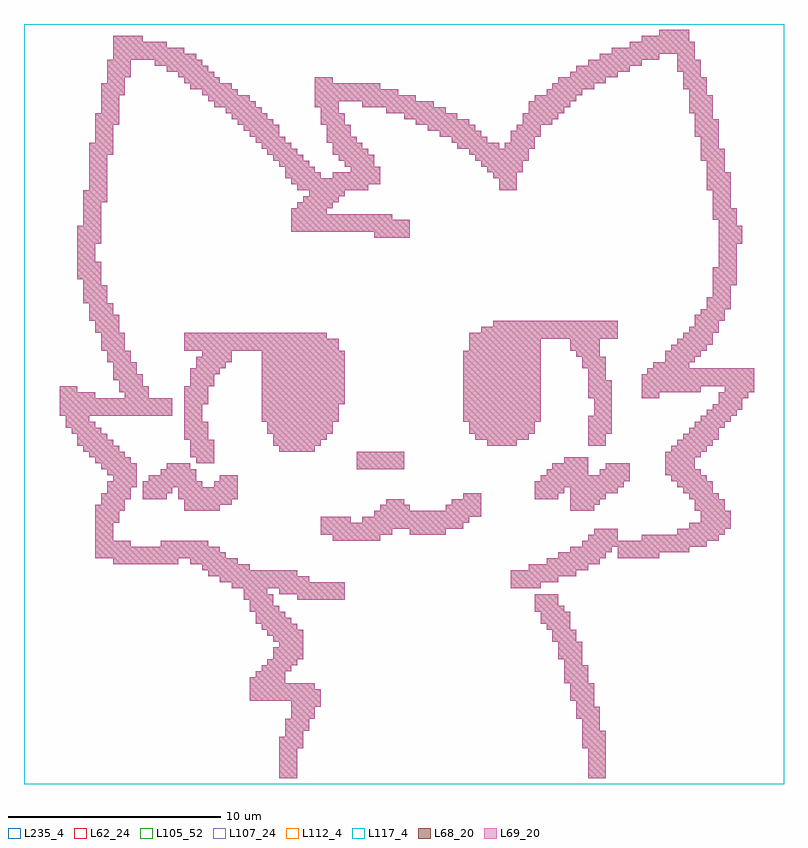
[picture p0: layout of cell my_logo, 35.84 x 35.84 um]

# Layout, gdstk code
import gdstk
lib = gdstk.Library(unit=1e-6, precision=1e-09)
def R(c, l, rs):  # rectangles x0, y0, x1, y1
    for r in rs: c.add(gdstk.rectangle(r[:2], r[2:], *l))
def A(c, l, x, y, w, h, nx, ny, dx, dy):  # array of equal rectangles
    R(c, l, [(x+i*dx, y+j*dy, x+i*dx+w, y+j*dy+h) for i in range(nx) for j in range(ny)])
L62_24 = (62, 24)
L68_20 = (68, 20)
L69_20 = (69, 20)
L105_52 = (105, 52)
L107_24 = (107, 24)
L112_4 = (112, 4)
L117_4 = (117, 4)
L235_4 = (235, 4)

my_logo = lib.new_cell('my_logo')
R(my_logo, L62_24, [(0,0,35.84,35.84)])
A(my_logo, L68_20, 12.04, 0.28, 0.28, 0.28, 3, 5, 0.28, 0.28)
A(my_logo, L68_20, 26.6, 0.28, 0.28, 0.28, 3, 5, 0.28, 0.28)
A(my_logo, L68_20, 12.04, 1.68, 0.28, 0.28, 4, 2, 0.28, 0.28)
A(my_logo, L68_20, 26.32, 1.68, 0.28, 0.28, 4, 3, 0.28, 0.28)
A(my_logo, L68_20, 12.32, 2.24, 0.28, 0.28, 3, 1, 0.28, 0)
A(my_logo, L68_20, 12.32, 2.52, 0.28, 0.28, 4, 2, 0.28, 0.28)
A(my_logo, L68_20, 26.32, 2.52, 0.28, 0.28, 3, 2, 0.28, 0.28)
A(my_logo, L68_20, 12.6, 3.08, 0.28, 0.28, 4, 2, 0.28, 0.28)
A(my_logo, L68_20, 26.04, 3.08, 0.28, 0.28, 4, 2, 0.28, 0.28)
A(my_logo, L68_20, 12.6, 3.64, 0.28, 0.28, 5, 1, 0.28, 0)
A(my_logo, L68_20, 26.04, 3.64, 0.28, 0.28, 3, 1, 0.28, 0)
A(my_logo, L68_20, 10.64, 3.92, 0.28, 0.28, 12, 2, 0.28, 0.28)
A(my_logo, L68_20, 25.76, 3.92, 0.28, 0.28, 4, 3, 0.28, 0.28)
A(my_logo, L68_20, 10.64, 4.48, 0.28, 0.28, 11, 1, 0.28, 0)
A(my_logo, L68_20, 10.64, 4.76, 0.28, 0.28, 6, 1, 0.28, 0)
A(my_logo, L68_20, 25.48, 4.76, 0.28, 0.28, 4, 3, 0.28, 0.28)
A(my_logo, L68_20, 10.92, 5.04, 0.28, 0.28, 5, 2, 0.28, 2.8)
A(my_logo, L68_20, 11.2, 5.32, 0.28, 0.28, 5, 2, 0.28, 24.64)
A(my_logo, L68_20, 11.48, 5.6, 0.28, 0.28, 5, 2, 0.28, 24.08)
A(my_logo, L68_20, 25.48, 5.6, 0.28, 0.28, 3, 1, 0.28, 0)
A(my_logo, L68_20, 11.76, 5.88, 0.28, 0.28, 5, 2, 0.28, 0.28)
A(my_logo, L68_20, 25.2, 5.88, 0.28, 0.28, 4, 3, 0.28, 0.28)
A(my_logo, L68_20, 12.04, 6.44, 0.28, 0.28, 4, 1, 0.28, 0)
A(my_logo, L68_20, 11.76, 6.72, 0.28, 0.28, 5, 2, 0.28, 22.68)
A(my_logo, L68_20, 24.92, 6.72, 0.28, 0.28, 4, 2, 0.28, 0.28)
A(my_logo, L68_20, 11.48, 7, 0.28, 0.28, 6, 1, 0.28, 0)
A(my_logo, L68_20, 11.2, 7.28, 0.28, 0.28, 6, 1, 0.28, 0)
A(my_logo, L68_20, 24.64, 7.28, 0.28, 0.28, 4, 1, 0.28, 0)
A(my_logo, L68_20, 10.92, 7.56, 0.28, 0.28, 6, 1, 0.28, 0)
A(my_logo, L68_20, 24.36, 7.56, 0.28, 0.28, 5, 2, 0.28, 0.28)
A(my_logo, L68_20, 10.64, 8.12, 0.28, 0.28, 5, 2, 0.28, 22.4)
A(my_logo, L68_20, 24.08, 8.12, 0.28, 0.28, 5, 2, 0.28, 5.6)
A(my_logo, L68_20, 10.64, 8.4, 0.28, 0.28, 4, 1, 0.28, 0)
A(my_logo, L68_20, 24.08, 8.4, 0.28, 0.28, 4, 2, 0.28, 0.28)
A(my_logo, L68_20, 10.36, 8.68, 0.28, 0.28, 5, 1, 0.28, 0)
A(my_logo, L68_20, 12.88, 8.68, 0.28, 0.28, 8, 1, 0.28, 0)
A(my_logo, L68_20, 10.36, 8.96, 0.28, 0.28, 4, 1, 0.28, 0)
A(my_logo, L68_20, 12.04, 8.96, 0.28, 0.28, 11, 1, 0.28, 0)
A(my_logo, L68_20, 9.8, 9.24, 0.28, 0.28, 19, 1, 0.28, 0)
A(my_logo, L68_20, 22.96, 9.24, 0.28, 0.28, 5, 2, 0.28, 21.28)
A(my_logo, L68_20, 9.24, 9.52, 0.28, 0.28, 15, 1, 0.28, 0)
A(my_logo, L68_20, 22.96, 9.52, 0.28, 0.28, 8, 1, 0.28, 0)
A(my_logo, L68_20, 8.68, 9.8, 0.28, 0.28, 15, 1, 0.28, 0)
A(my_logo, L68_20, 22.96, 9.8, 0.28, 0.28, 11, 1, 0.28, 0)
A(my_logo, L68_20, 8.4, 10.08, 0.28, 0.28, 8, 1, 0.28, 0)
A(my_logo, L68_20, 23.8, 10.08, 0.28, 0.28, 10, 1, 0.28, 0)
A(my_logo, L68_20, 4.2, 10.36, 0.28, 0.28, 11, 1, 0.28, 0)
A(my_logo, L68_20, 7.84, 10.36, 0.28, 0.28, 8, 1, 0.28, 0)
A(my_logo, L68_20, 24.64, 10.36, 0.28, 0.28, 9, 1, 0.28, 0)
A(my_logo, L68_20, 3.36, 10.64, 0.28, 0.28, 22, 1, 0.28, 0)
A(my_logo, L68_20, 25.2, 10.64, 0.28, 0.28, 8, 2, 0.28, 22.4)
A(my_logo, L68_20, 28, 10.64, 0.28, 0.28, 7, 1, 0.28, 0)
A(my_logo, L68_20, 3.36, 10.92, 0.28, 0.28, 21, 1, 0.28, 0)
A(my_logo, L68_20, 25.76, 10.92, 0.28, 0.28, 7, 1, 0.28, 0)
A(my_logo, L68_20, 28, 10.92, 0.28, 0.28, 12, 1, 0.28, 0)
A(my_logo, L68_20, 3.36, 11.2, 0.28, 0.28, 6, 2, 0.28, 3.92)
A(my_logo, L68_20, 6.44, 11.2, 0.28, 0.28, 8, 1, 0.28, 0)
A(my_logo, L68_20, 26.32, 11.2, 0.28, 0.28, 21, 1, 0.28, 0)
A(my_logo, L68_20, 3.36, 11.48, 0.28, 0.28, 3, 3, 0.28, 0.28)
A(my_logo, L68_20, 14.56, 11.48, 0.28, 0.28, 8, 2, 0.28, 17.08)
A(my_logo, L68_20, 26.6, 11.48, 0.28, 0.28, 5, 1, 0.28, 0)
A(my_logo, L68_20, 29.12, 11.48, 0.28, 0.28, 13, 1, 0.28, 0)
A(my_logo, L68_20, 14, 11.76, 0.28, 0.28, 12, 1, 0.28, 0)
A(my_logo, L68_20, 18.2, 11.76, 0.28, 0.28, 6, 1, 0.28, 0)
A(my_logo, L68_20, 26.88, 11.76, 0.28, 0.28, 4, 1, 0.28, 0)
A(my_logo, L68_20, 30.8, 11.76, 0.28, 0.28, 8, 1, 0.28, 0)
A(my_logo, L68_20, 14, 12.04, 0.28, 0.28, 24, 1, 0.28, 0)
A(my_logo, L68_20, 31.36, 12.04, 0.28, 0.28, 7, 1, 0.28, 0)
A(my_logo, L68_20, 3.36, 12.32, 0.28, 0.28, 4, 2, 0.28, 0.28)
A(my_logo, L68_20, 14, 12.32, 0.28, 0.28, 5, 1, 0.28, 0)
A(my_logo, L68_20, 15.96, 12.32, 0.28, 0.28, 18, 1, 0.28, 0)
A(my_logo, L68_20, 31.92, 12.32, 0.28, 0.28, 5, 2, 0.28, 0.28)
A(my_logo, L68_20, 16.52, 12.6, 0.28, 0.28, 18, 1, 0.28, 0)
A(my_logo, L68_20, 3.36, 12.88, 0.28, 0.28, 5, 1, 0.28, 0)
A(my_logo, L68_20, 7.56, 12.88, 0.28, 0.28, 6, 2, 0.28, 20.16)
A(my_logo, L68_20, 16.8, 12.88, 0.28, 0.28, 5, 1, 0.28, 0)
A(my_logo, L68_20, 19.88, 12.88, 0.28, 0.28, 6, 1, 0.28, 0)
A(my_logo, L68_20, 25.76, 12.88, 0.28, 0.28, 4, 1, 0.28, 0)
A(my_logo, L68_20, 31.64, 12.88, 0.28, 0.28, 5, 2, 0.28, 0.28)
A(my_logo, L68_20, 3.64, 13.16, 0.28, 0.28, 4, 2, 0.28, 7.28)
A(my_logo, L68_20, 7.56, 13.16, 0.28, 0.28, 8, 1, 0.28, 0)
A(my_logo, L68_20, 17.08, 13.16, 0.28, 0.28, 3, 1, 0.28, 0)
A(my_logo, L68_20, 20.16, 13.16, 0.28, 0.28, 5, 1, 0.28, 0)
A(my_logo, L68_20, 25.76, 13.16, 0.28, 0.28, 5, 2, 0.28, 7.28)
A(my_logo, L68_20, 3.64, 13.44, 0.28, 0.28, 5, 1, 0.28, 0)
A(my_logo, L68_20, 5.6, 13.44, 0.28, 0.28, 4, 1, 0.28, 0)
A(my_logo, L68_20, 7.28, 13.44, 0.28, 0.28, 10, 2, 0.28, 0.28)
A(my_logo, L68_20, 20.72, 13.44, 0.28, 0.28, 3, 1, 0.28, 0)
A(my_logo, L68_20, 24.08, 13.44, 0.28, 0.28, 4, 1, 0.28, 0)
A(my_logo, L68_20, 25.76, 13.44, 0.28, 0.28, 6, 1, 0.28, 0)
A(my_logo, L68_20, 31.36, 13.44, 0.28, 0.28, 5, 2, 0.28, 3.08)
A(my_logo, L68_20, 3.92, 13.72, 0.28, 0.28, 4, 2, 0.28, 6.16)
A(my_logo, L68_20, 5.6, 13.72, 0.28, 0.28, 5, 1, 0.28, 0)
A(my_logo, L68_20, 25.76, 13.72, 0.28, 0.28, 8, 2, 0.28, 19.6)
A(my_logo, L68_20, 31.08, 13.72, 0.28, 0.28, 5, 2, 0.28, 7.28)
A(my_logo, L68_20, 3.92, 14, 0.28, 0.28, 5, 2, 0.28, 0.56)
A(my_logo, L68_20, 5.6, 14, 0.28, 0.28, 10, 1, 0.28, 0)
A(my_logo, L68_20, 8.96, 14, 0.28, 0.28, 4, 1, 0.28, 0)
A(my_logo, L68_20, 24.08, 14, 0.28, 0.28, 15, 1, 0.28, 0)
A(my_logo, L68_20, 30.8, 14, 0.28, 0.28, 6, 2, 0.28, 1.96)
A(my_logo, L68_20, 4.2, 14.28, 0.28, 0.28, 4, 2, 0.28, 5.04)
A(my_logo, L68_20, 5.88, 14.28, 0.28, 0.28, 8, 1, 0.28, 0)
A(my_logo, L68_20, 9.24, 14.28, 0.28, 0.28, 3, 1, 0.28, 0)
A(my_logo, L68_20, 24.36, 14.28, 0.28, 0.28, 15, 1, 0.28, 0)
A(my_logo, L68_20, 30.52, 14.28, 0.28, 0.28, 6, 2, 0.28, 1.4)
A(my_logo, L68_20, 6.44, 14.56, 0.28, 0.28, 6, 1, 0.28, 0)
A(my_logo, L68_20, 24.64, 14.56, 0.28, 0.28, 7, 1, 0.28, 0)
A(my_logo, L68_20, 27.16, 14.56, 0.28, 0.28, 5, 1, 0.28, 0)
A(my_logo, L68_20, 30.24, 14.56, 0.28, 0.28, 6, 2, 0.28, 0.84)
A(my_logo, L68_20, 3.64, 14.84, 0.28, 0.28, 6, 1, 0.28, 0)
A(my_logo, L68_20, 6.72, 14.84, 0.28, 0.28, 4, 1, 0.28, 0)
A(my_logo, L68_20, 15.68, 14.84, 0.28, 0.28, 8, 3, 0.28, 0.28)
A(my_logo, L68_20, 24.92, 14.84, 0.28, 0.28, 6, 1, 0.28, 0)
A(my_logo, L68_20, 27.44, 14.84, 0.28, 0.28, 4, 1, 0.28, 0)
A(my_logo, L68_20, 30.24, 14.84, 0.28, 0.28, 5, 2, 0.28, 0.28)
A(my_logo, L68_20, 8.12, 15.12, 0.28, 0.28, 3, 1, 0.28, 0)
A(my_logo, L68_20, 25.48, 15.12, 0.28, 0.28, 4, 1, 0.28, 0)
A(my_logo, L68_20, 3.08, 15.4, 0.28, 0.28, 6, 1, 0.28, 0)
A(my_logo, L68_20, 7.84, 15.4, 0.28, 0.28, 4, 3, 0.28, 0.28)
A(my_logo, L68_20, 2.8, 15.68, 0.28, 0.28, 6, 1, 0.28, 0)
A(my_logo, L68_20, 12.04, 15.68, 0.28, 0.28, 6, 1, 0.28, 0)
A(my_logo, L68_20, 2.52, 15.96, 0.28, 0.28, 6, 1, 0.28, 0)
A(my_logo, L68_20, 11.76, 15.96, 0.28, 0.28, 8, 1, 0.28, 0)
A(my_logo, L68_20, 21.84, 15.96, 0.28, 0.28, 5, 1, 0.28, 0)
A(my_logo, L68_20, 26.6, 15.96, 0.28, 0.28, 3, 2, 0.28, 0.28)
A(my_logo, L68_20, 2.52, 16.24, 0.28, 0.28, 5, 1, 0.28, 0)
A(my_logo, L68_20, 7.56, 16.24, 0.28, 0.28, 4, 3, 0.28, 0.28)
A(my_logo, L68_20, 11.76, 16.24, 0.28, 0.28, 9, 1, 0.28, 0)
A(my_logo, L68_20, 21.28, 16.24, 0.28, 0.28, 9, 2, 0.28, 13.16)
A(my_logo, L68_20, 31.08, 16.24, 0.28, 0.28, 6, 1, 0.28, 0)
A(my_logo, L68_20, 2.24, 16.52, 0.28, 0.28, 5, 1, 0.28, 0)
A(my_logo, L68_20, 11.48, 16.52, 0.28, 0.28, 11, 2, 0.28, 0.28)
A(my_logo, L68_20, 21, 16.52, 0.28, 0.28, 11, 2, 0.28, 0.28)
A(my_logo, L68_20, 26.6, 16.52, 0.28, 0.28, 4, 3, 0.28, 0.28)
A(my_logo, L68_20, 1.96, 16.8, 0.28, 0.28, 5, 1, 0.28, 0)
A(my_logo, L68_20, 31.64, 16.8, 0.28, 0.28, 5, 2, 0.28, 5.04)
A(my_logo, L68_20, 1.96, 17.08, 0.28, 0.28, 4, 1, 0.28, 0)
A(my_logo, L68_20, 7.56, 17.08, 0.28, 0.28, 3, 3, 0.28, 0.28)
A(my_logo, L68_20, 11.2, 17.08, 0.28, 0.28, 13, 3, 0.28, 0.28)
A(my_logo, L68_20, 20.72, 17.08, 0.28, 0.28, 13, 12, 0.28, 0.28)
A(my_logo, L68_20, 31.92, 17.08, 0.28, 0.28, 5, 1, 0.28, 0)
A(my_logo, L68_20, 1.68, 17.36, 0.28, 0.28, 19, 3, 0.28, 0.28)
A(my_logo, L68_20, 26.88, 17.36, 0.28, 0.28, 3, 3, 0.28, 0.28)
A(my_logo, L68_20, 32.2, 17.36, 0.28, 0.28, 5, 1, 0.28, 0)
A(my_logo, L68_20, 32.48, 17.64, 0.28, 0.28, 5, 1, 0.28, 0)
A(my_logo, L68_20, 7.56, 17.92, 0.28, 0.28, 4, 3, 0.28, 0.28)
A(my_logo, L68_20, 11.2, 17.92, 0.28, 0.28, 14, 9, 0.28, 0.28)
A(my_logo, L68_20, 32.76, 17.92, 0.28, 0.28, 4, 2, 0.28, 7.56)
A(my_logo, L68_20, 1.68, 18.2, 0.28, 0.28, 6, 1, 0.28, 0)
A(my_logo, L68_20, 4.76, 18.2, 0.28, 0.28, 4, 1, 0.28, 0)
A(my_logo, L68_20, 26.6, 18.2, 0.28, 0.28, 4, 3, 0.28, 0.28)
A(my_logo, L68_20, 29.12, 18.2, 0.28, 0.28, 3, 1, 0.28, 0)
A(my_logo, L68_20, 32.76, 18.2, 0.28, 0.28, 5, 1, 0.28, 0)
A(my_logo, L68_20, 1.68, 18.48, 0.28, 0.28, 3, 1, 0.28, 0)
A(my_logo, L68_20, 4.48, 18.48, 0.28, 0.28, 5, 1, 0.28, 0)
A(my_logo, L68_20, 29.12, 18.48, 0.28, 0.28, 10, 1, 0.28, 0)
A(my_logo, L68_20, 33.04, 18.48, 0.28, 0.28, 5, 1, 0.28, 0)
A(my_logo, L68_20, 4.48, 18.76, 0.28, 0.28, 4, 1, 0.28, 0)
A(my_logo, L68_20, 7.84, 18.76, 0.28, 0.28, 4, 2, 0.28, 0.28)
A(my_logo, L68_20, 29.12, 18.76, 0.28, 0.28, 19, 2, 0.28, 0.28)
A(my_logo, L68_20, 4.2, 19.04, 0.28, 0.28, 5, 2, 0.28, 15.96)
A(my_logo, L68_20, 26.6, 19.04, 0.28, 0.28, 3, 2, 0.28, 0.28)
A(my_logo, L68_20, 7.84, 19.32, 0.28, 0.28, 5, 1, 0.28, 0)
A(my_logo, L68_20, 29.4, 19.32, 0.28, 0.28, 18, 1, 0.28, 0)
A(my_logo, L68_20, 4.2, 19.6, 0.28, 0.28, 4, 1, 0.28, 0)
A(my_logo, L68_20, 8.12, 19.6, 0.28, 0.28, 5, 1, 0.28, 0)
A(my_logo, L68_20, 26.32, 19.6, 0.28, 0.28, 4, 2, 0.28, 0.28)
A(my_logo, L68_20, 29.68, 19.6, 0.28, 0.28, 6, 1, 0.28, 0)
A(my_logo, L68_20, 8.12, 19.88, 0.28, 0.28, 6, 1, 0.28, 0)
A(my_logo, L68_20, 30.24, 19.88, 0.28, 0.28, 5, 1, 0.28, 0)
A(my_logo, L68_20, 3.92, 20.16, 0.28, 0.28, 4, 2, 0.28, 13.16)
A(my_logo, L68_20, 8.4, 20.16, 0.28, 0.28, 5, 1, 0.28, 0)
A(my_logo, L68_20, 26.04, 20.16, 0.28, 0.28, 4, 1, 0.28, 0)
A(my_logo, L68_20, 30.24, 20.16, 0.28, 0.28, 6, 1, 0.28, 0)
A(my_logo, L68_20, 7.56, 20.44, 0.28, 0.28, 26, 2, 0.28, 0.28)
A(my_logo, L68_20, 21, 20.44, 0.28, 0.28, 12, 2, 0.28, 0.28)
A(my_logo, L68_20, 30.52, 20.44, 0.28, 0.28, 6, 1, 0.28, 0)
A(my_logo, L68_20, 3.64, 20.72, 0.28, 0.28, 4, 2, 0.28, 0.28)
A(my_logo, L68_20, 25.76, 20.72, 0.28, 0.28, 5, 1, 0.28, 0)
A(my_logo, L68_20, 30.8, 20.72, 0.28, 0.28, 6, 1, 0.28, 0)
A(my_logo, L68_20, 7.56, 21, 0.28, 0.28, 24, 1, 0.28, 0)
A(my_logo, L68_20, 21, 21, 0.28, 0.28, 25, 1, 0.28, 0)
A(my_logo, L68_20, 3.36, 21.28, 0.28, 0.28, 4, 2, 0.28, 0.28)
A(my_logo, L68_20, 21.56, 21.28, 0.28, 0.28, 23, 1, 0.28, 0)
A(my_logo, L68_20, 31.36, 21.28, 0.28, 0.28, 5, 1, 0.28, 0)
A(my_logo, L68_20, 22.12, 21.56, 0.28, 0.28, 21, 1, 0.28, 0)
A(my_logo, L68_20, 31.64, 21.56, 0.28, 0.28, 4, 2, 0.28, 8.96)
A(my_logo, L68_20, 3.08, 21.84, 0.28, 0.28, 5, 1, 0.28, 0)
A(my_logo, L68_20, 3.08, 22.12, 0.28, 0.28, 4, 2, 0.28, 0.28)
A(my_logo, L68_20, 31.92, 22.12, 0.28, 0.28, 4, 2, 0.28, 7.28)
A(my_logo, L68_20, 32.2, 22.4, 0.28, 0.28, 4, 2, 0.28, 0.28)
A(my_logo, L68_20, 2.8, 22.68, 0.28, 0.28, 4, 3, 0.28, 0.28)
A(my_logo, L68_20, 32.48, 22.96, 0.28, 0.28, 3, 2, 0.28, 0.28)
A(my_logo, L68_20, 2.8, 23.52, 0.28, 0.28, 3, 2, 0.28, 2.8)
A(my_logo, L68_20, 32.48, 23.52, 0.28, 0.28, 4, 3, 0.28, 0.28)
A(my_logo, L68_20, 2.52, 23.8, 0.28, 0.28, 4, 3, 0.28, 0.28)
A(my_logo, L68_20, 32.76, 24.36, 0.28, 0.28, 3, 4, 0.28, 0.28)
A(my_logo, L68_20, 2.52, 24.64, 0.28, 0.28, 3, 3, 0.28, 0.28)
A(my_logo, L68_20, 2.52, 25.48, 0.28, 0.28, 4, 3, 0.28, 0.28)
A(my_logo, L68_20, 16.52, 25.76, 0.28, 0.28, 6, 1, 0.28, 0)
A(my_logo, L68_20, 32.76, 25.76, 0.28, 0.28, 4, 2, 0.28, 0.28)
A(my_logo, L68_20, 12.6, 26.04, 0.28, 0.28, 20, 2, 0.28, 0.28)
A(my_logo, L68_20, 32.76, 26.32, 0.28, 0.28, 3, 1, 0.28, 0)
A(my_logo, L68_20, 2.8, 26.6, 0.28, 0.28, 3, 3, 0.28, 0.28)
A(my_logo, L68_20, 12.6, 26.6, 0.28, 0.28, 17, 1, 0.28, 0)
A(my_logo, L68_20, 32.48, 26.6, 0.28, 0.28, 4, 2, 0.28, 0.28)
A(my_logo, L68_20, 12.6, 26.88, 0.28, 0.28, 6, 1, 0.28, 0)
A(my_logo, L68_20, 12.88, 27.16, 0.28, 0.28, 6, 1, 0.28, 0)
A(my_logo, L68_20, 32.48, 27.16, 0.28, 0.28, 3, 3, 0.28, 0.28)
A(my_logo, L68_20, 2.8, 27.44, 0.28, 0.28, 4, 2, 0.28, 0.28)
A(my_logo, L68_20, 13.16, 27.44, 0.28, 0.28, 6, 1, 0.28, 0)
A(my_logo, L68_20, 13.44, 27.72, 0.28, 0.28, 6, 1, 0.28, 0)
A(my_logo, L68_20, 3.08, 28, 0.28, 0.28, 3, 6, 0.28, 0.28)
A(my_logo, L68_20, 12.88, 28, 0.28, 0.28, 12, 1, 0.28, 0)
A(my_logo, L68_20, 22.4, 28, 0.28, 0.28, 3, 2, 0.28, 0.28)
A(my_logo, L68_20, 32.2, 28, 0.28, 0.28, 4, 3, 0.28, 0.28)
A(my_logo, L68_20, 12.6, 28.28, 0.28, 0.28, 15, 1, 0.28, 0)
A(my_logo, L68_20, 12.32, 28.56, 0.28, 0.28, 6, 1, 0.28, 0)
A(my_logo, L68_20, 22.12, 28.56, 0.28, 0.28, 4, 1, 0.28, 0)
A(my_logo, L68_20, 12.32, 28.84, 0.28, 0.28, 5, 1, 0.28, 0)
A(my_logo, L68_20, 15.4, 28.84, 0.28, 0.28, 5, 1, 0.28, 0)
A(my_logo, L68_20, 21.84, 28.84, 0.28, 0.28, 6, 1, 0.28, 0)
A(my_logo, L68_20, 32.2, 28.84, 0.28, 0.28, 3, 2, 0.28, 0.28)
A(my_logo, L68_20, 12.04, 29.12, 0.28, 0.28, 5, 1, 0.28, 0)
A(my_logo, L68_20, 15.12, 29.12, 0.28, 0.28, 5, 1, 0.28, 0)
A(my_logo, L68_20, 21.56, 29.12, 0.28, 0.28, 7, 1, 0.28, 0)
A(my_logo, L68_20, 14.84, 29.4, 0.28, 0.28, 6, 1, 0.28, 0)
A(my_logo, L68_20, 3.08, 29.68, 0.28, 0.28, 4, 2, 0.28, 0.28)
A(my_logo, L68_20, 14.56, 29.68, 0.28, 0.28, 6, 1, 0.28, 0)
A(my_logo, L68_20, 21, 29.68, 0.28, 0.28, 10, 1, 0.28, 0)
A(my_logo, L68_20, 31.92, 29.68, 0.28, 0.28, 4, 1, 0.28, 0)
A(my_logo, L68_20, 14.56, 29.96, 0.28, 0.28, 5, 1, 0.28, 0)
A(my_logo, L68_20, 20.44, 29.96, 0.28, 0.28, 7, 1, 0.28, 0)
A(my_logo, L68_20, 22.68, 29.96, 0.28, 0.28, 5, 1, 0.28, 0)
A(my_logo, L68_20, 31.92, 29.96, 0.28, 0.28, 3, 2, 0.28, 0.28)
A(my_logo, L68_20, 3.36, 30.24, 0.28, 0.28, 3, 3, 0.28, 0.28)
A(my_logo, L68_20, 10.92, 30.24, 0.28, 0.28, 5, 1, 0.28, 0)
A(my_logo, L68_20, 14.28, 30.24, 0.28, 0.28, 5, 1, 0.28, 0)
A(my_logo, L68_20, 20.16, 30.24, 0.28, 0.28, 6, 1, 0.28, 0)
A(my_logo, L68_20, 22.96, 30.24, 0.28, 0.28, 4, 1, 0.28, 0)
A(my_logo, L68_20, 14.28, 30.52, 0.28, 0.28, 4, 2, 0.28, 0.28)
A(my_logo, L68_20, 19.6, 30.52, 0.28, 0.28, 7, 1, 0.28, 0)
A(my_logo, L68_20, 10.36, 30.8, 0.28, 0.28, 6, 1, 0.28, 0)
A(my_logo, L68_20, 19.04, 30.8, 0.28, 0.28, 8, 1, 0.28, 0)
A(my_logo, L68_20, 23.24, 30.8, 0.28, 0.28, 4, 1, 0.28, 0)
A(my_logo, L68_20, 31.64, 30.8, 0.28, 0.28, 4, 2, 0.28, 0.28)
A(my_logo, L68_20, 3.36, 31.08, 0.28, 0.28, 4, 2, 0.28, 0.28)
A(my_logo, L68_20, 10.08, 31.08, 0.28, 0.28, 6, 1, 0.28, 0)
A(my_logo, L68_20, 14, 31.08, 0.28, 0.28, 4, 2, 0.28, 0.28)
A(my_logo, L68_20, 18.48, 31.08, 0.28, 0.28, 9, 1, 0.28, 0)
A(my_logo, L68_20, 23.52, 31.08, 0.28, 0.28, 5, 1, 0.28, 0)
A(my_logo, L68_20, 9.8, 31.36, 0.28, 0.28, 6, 1, 0.28, 0)
A(my_logo, L68_20, 17.92, 31.36, 0.28, 0.28, 9, 1, 0.28, 0)
A(my_logo, L68_20, 23.52, 31.36, 0.28, 0.28, 6, 1, 0.28, 0)
A(my_logo, L68_20, 31.64, 31.36, 0.28, 0.28, 3, 1, 0.28, 0)
A(my_logo, L68_20, 3.64, 31.64, 0.28, 0.28, 3, 3, 0.28, 0.28)
A(my_logo, L68_20, 9.52, 31.64, 0.28, 0.28, 6, 1, 0.28, 0)
A(my_logo, L68_20, 14, 31.64, 0.28, 0.28, 3, 1, 0.28, 0)
A(my_logo, L68_20, 17.08, 31.64, 0.28, 0.28, 10, 1, 0.28, 0)
A(my_logo, L68_20, 23.8, 31.64, 0.28, 0.28, 6, 1, 0.28, 0)
A(my_logo, L68_20, 31.36, 31.64, 0.28, 0.28, 4, 3, 0.28, 0.28)
A(my_logo, L68_20, 8.96, 31.92, 0.28, 0.28, 7, 1, 0.28, 0)
A(my_logo, L68_20, 13.72, 31.92, 0.28, 0.28, 4, 1, 0.28, 0)
A(my_logo, L68_20, 15.96, 31.92, 0.28, 0.28, 12, 1, 0.28, 0)
A(my_logo, L68_20, 23.8, 31.92, 0.28, 0.28, 7, 1, 0.28, 0)
A(my_logo, L68_20, 8.68, 32.2, 0.28, 0.28, 7, 1, 0.28, 0)
A(my_logo, L68_20, 13.72, 32.2, 0.28, 0.28, 17, 1, 0.28, 0)
A(my_logo, L68_20, 24.08, 32.2, 0.28, 0.28, 7, 1, 0.28, 0)
A(my_logo, L68_20, 3.64, 32.48, 0.28, 0.28, 4, 2, 0.28, 0.28)
A(my_logo, L68_20, 8.4, 32.48, 0.28, 0.28, 6, 1, 0.28, 0)
A(my_logo, L68_20, 13.72, 32.48, 0.28, 0.28, 14, 1, 0.28, 0)
A(my_logo, L68_20, 24.64, 32.48, 0.28, 0.28, 6, 1, 0.28, 0)
A(my_logo, L68_20, 31.36, 32.48, 0.28, 0.28, 3, 1, 0.28, 0)
A(my_logo, L68_20, 7.84, 32.76, 0.28, 0.28, 7, 1, 0.28, 0)
A(my_logo, L68_20, 13.72, 32.76, 0.28, 0.28, 11, 1, 0.28, 0)
A(my_logo, L68_20, 24.92, 32.76, 0.28, 0.28, 7, 1, 0.28, 0)
A(my_logo, L68_20, 31.08, 32.76, 0.28, 0.28, 4, 2, 0.28, 0.28)
A(my_logo, L68_20, 3.92, 33.04, 0.28, 0.28, 3, 1, 0.28, 0)
A(my_logo, L68_20, 13.72, 33.04, 0.28, 0.28, 3, 1, 0.28, 0)
A(my_logo, L68_20, 7.28, 33.32, 0.28, 0.28, 6, 1, 0.28, 0)
A(my_logo, L68_20, 31.08, 33.32, 0.28, 0.28, 3, 1, 0.28, 0)
A(my_logo, L68_20, 3.92, 33.6, 0.28, 0.28, 4, 2, 0.28, 0.28)
A(my_logo, L68_20, 6.72, 33.6, 0.28, 0.28, 7, 1, 0.28, 0)
A(my_logo, L68_20, 26.04, 33.6, 0.28, 0.28, 9, 1, 0.28, 0)
A(my_logo, L68_20, 30.8, 33.6, 0.28, 0.28, 4, 2, 0.28, 0.28)
A(my_logo, L68_20, 6.16, 33.88, 0.28, 0.28, 8, 1, 0.28, 0)
A(my_logo, L68_20, 26.6, 33.88, 0.28, 0.28, 9, 1, 0.28, 0)
A(my_logo, L68_20, 4.2, 34.16, 0.28, 0.28, 14, 1, 0.28, 0)
A(my_logo, L68_20, 27.16, 34.16, 0.28, 0.28, 10, 1, 0.28, 0)
A(my_logo, L68_20, 30.8, 34.16, 0.28, 0.28, 3, 1, 0.28, 0)
A(my_logo, L68_20, 4.2, 34.44, 0.28, 0.28, 12, 1, 0.28, 0)
A(my_logo, L68_20, 27.72, 34.44, 0.28, 0.28, 14, 1, 0.28, 0)
A(my_logo, L68_20, 4.2, 34.72, 0.28, 0.28, 9, 1, 0.28, 0)
A(my_logo, L68_20, 28.56, 34.72, 0.28, 0.28, 11, 1, 0.28, 0)
A(my_logo, L68_20, 29.12, 35, 0.28, 0.28, 8, 1, 0.28, 0)
A(my_logo, L68_20, 29.96, 35.28, 0.28, 0.28, 5, 1, 0.28, 0)
A(my_logo, L69_20, 12.04, 0.28, 0.28, 0.28, 3, 5, 0.28, 0.28)
A(my_logo, L69_20, 26.6, 0.28, 0.28, 0.28, 3, 5, 0.28, 0.28)
A(my_logo, L69_20, 12.04, 1.68, 0.28, 0.28, 4, 2, 0.28, 0.28)
A(my_logo, L69_20, 26.32, 1.68, 0.28, 0.28, 4, 3, 0.28, 0.28)
A(my_logo, L69_20, 12.32, 2.24, 0.28, 0.28, 3, 1, 0.28, 0)
A(my_logo, L69_20, 12.32, 2.52, 0.28, 0.28, 4, 2, 0.28, 0.28)
A(my_logo, L69_20, 26.32, 2.52, 0.28, 0.28, 3, 2, 0.28, 0.28)
A(my_logo, L69_20, 12.6, 3.08, 0.28, 0.28, 4, 2, 0.28, 0.28)
A(my_logo, L69_20, 26.04, 3.08, 0.28, 0.28, 4, 2, 0.28, 0.28)
A(my_logo, L69_20, 12.6, 3.64, 0.28, 0.28, 5, 1, 0.28, 0)
A(my_logo, L69_20, 26.04, 3.64, 0.28, 0.28, 3, 1, 0.28, 0)
A(my_logo, L69_20, 10.64, 3.92, 0.28, 0.28, 12, 2, 0.28, 0.28)
A(my_logo, L69_20, 25.76, 3.92, 0.28, 0.28, 4, 3, 0.28, 0.28)
A(my_logo, L69_20, 10.64, 4.48, 0.28, 0.28, 11, 1, 0.28, 0)
A(my_logo, L69_20, 10.64, 4.76, 0.28, 0.28, 6, 1, 0.28, 0)
A(my_logo, L69_20, 25.48, 4.76, 0.28, 0.28, 4, 3, 0.28, 0.28)
A(my_logo, L69_20, 10.92, 5.04, 0.28, 0.28, 5, 2, 0.28, 2.8)
A(my_logo, L69_20, 11.2, 5.32, 0.28, 0.28, 5, 2, 0.28, 24.64)
A(my_logo, L69_20, 11.48, 5.6, 0.28, 0.28, 5, 2, 0.28, 24.08)
A(my_logo, L69_20, 25.48, 5.6, 0.28, 0.28, 3, 1, 0.28, 0)
A(my_logo, L69_20, 11.76, 5.88, 0.28, 0.28, 5, 2, 0.28, 0.28)
A(my_logo, L69_20, 25.2, 5.88, 0.28, 0.28, 4, 3, 0.28, 0.28)
A(my_logo, L69_20, 12.04, 6.44, 0.28, 0.28, 4, 1, 0.28, 0)
A(my_logo, L69_20, 11.76, 6.72, 0.28, 0.28, 5, 2, 0.28, 22.68)
A(my_logo, L69_20, 24.92, 6.72, 0.28, 0.28, 4, 2, 0.28, 0.28)
A(my_logo, L69_20, 11.48, 7, 0.28, 0.28, 6, 1, 0.28, 0)
A(my_logo, L69_20, 11.2, 7.28, 0.28, 0.28, 6, 1, 0.28, 0)
A(my_logo, L69_20, 24.64, 7.28, 0.28, 0.28, 4, 1, 0.28, 0)
A(my_logo, L69_20, 10.92, 7.56, 0.28, 0.28, 6, 1, 0.28, 0)
A(my_logo, L69_20, 24.36, 7.56, 0.28, 0.28, 5, 2, 0.28, 0.28)
A(my_logo, L69_20, 10.64, 8.12, 0.28, 0.28, 5, 2, 0.28, 22.4)
A(my_logo, L69_20, 24.08, 8.12, 0.28, 0.28, 5, 2, 0.28, 5.6)
A(my_logo, L69_20, 10.64, 8.4, 0.28, 0.28, 4, 1, 0.28, 0)
A(my_logo, L69_20, 24.08, 8.4, 0.28, 0.28, 4, 2, 0.28, 0.28)
A(my_logo, L69_20, 10.36, 8.68, 0.28, 0.28, 5, 1, 0.28, 0)
A(my_logo, L69_20, 12.88, 8.68, 0.28, 0.28, 8, 1, 0.28, 0)
A(my_logo, L69_20, 10.36, 8.96, 0.28, 0.28, 4, 1, 0.28, 0)
A(my_logo, L69_20, 12.04, 8.96, 0.28, 0.28, 11, 1, 0.28, 0)
A(my_logo, L69_20, 9.8, 9.24, 0.28, 0.28, 19, 1, 0.28, 0)
A(my_logo, L69_20, 22.96, 9.24, 0.28, 0.28, 5, 2, 0.28, 21.28)
A(my_logo, L69_20, 9.24, 9.52, 0.28, 0.28, 15, 1, 0.28, 0)
A(my_logo, L69_20, 22.96, 9.52, 0.28, 0.28, 8, 1, 0.28, 0)
A(my_logo, L69_20, 8.68, 9.8, 0.28, 0.28, 15, 1, 0.28, 0)
A(my_logo, L69_20, 22.96, 9.8, 0.28, 0.28, 11, 1, 0.28, 0)
A(my_logo, L69_20, 8.4, 10.08, 0.28, 0.28, 8, 1, 0.28, 0)
A(my_logo, L69_20, 23.8, 10.08, 0.28, 0.28, 10, 1, 0.28, 0)
A(my_logo, L69_20, 4.2, 10.36, 0.28, 0.28, 11, 1, 0.28, 0)
A(my_logo, L69_20, 7.84, 10.36, 0.28, 0.28, 8, 1, 0.28, 0)
A(my_logo, L69_20, 24.64, 10.36, 0.28, 0.28, 9, 1, 0.28, 0)
A(my_logo, L69_20, 3.36, 10.64, 0.28, 0.28, 22, 1, 0.28, 0)
A(my_logo, L69_20, 25.2, 10.64, 0.28, 0.28, 8, 2, 0.28, 22.4)
A(my_logo, L69_20, 28, 10.64, 0.28, 0.28, 7, 1, 0.28, 0)
A(my_logo, L69_20, 3.36, 10.92, 0.28, 0.28, 21, 1, 0.28, 0)
A(my_logo, L69_20, 25.76, 10.92, 0.28, 0.28, 7, 1, 0.28, 0)
A(my_logo, L69_20, 28, 10.92, 0.28, 0.28, 12, 1, 0.28, 0)
A(my_logo, L69_20, 3.36, 11.2, 0.28, 0.28, 6, 2, 0.28, 3.92)
A(my_logo, L69_20, 6.44, 11.2, 0.28, 0.28, 8, 1, 0.28, 0)
A(my_logo, L69_20, 26.32, 11.2, 0.28, 0.28, 21, 1, 0.28, 0)
A(my_logo, L69_20, 3.36, 11.48, 0.28, 0.28, 3, 3, 0.28, 0.28)
A(my_logo, L69_20, 14.56, 11.48, 0.28, 0.28, 8, 2, 0.28, 17.08)
A(my_logo, L69_20, 26.6, 11.48, 0.28, 0.28, 5, 1, 0.28, 0)
A(my_logo, L69_20, 29.12, 11.48, 0.28, 0.28, 13, 1, 0.28, 0)
A(my_logo, L69_20, 14, 11.76, 0.28, 0.28, 12, 1, 0.28, 0)
A(my_logo, L69_20, 18.2, 11.76, 0.28, 0.28, 6, 1, 0.28, 0)
A(my_logo, L69_20, 26.88, 11.76, 0.28, 0.28, 4, 1, 0.28, 0)
A(my_logo, L69_20, 30.8, 11.76, 0.28, 0.28, 8, 1, 0.28, 0)
A(my_logo, L69_20, 14, 12.04, 0.28, 0.28, 24, 1, 0.28, 0)
A(my_logo, L69_20, 31.36, 12.04, 0.28, 0.28, 7, 1, 0.28, 0)
A(my_logo, L69_20, 3.36, 12.32, 0.28, 0.28, 4, 2, 0.28, 0.28)
A(my_logo, L69_20, 14, 12.32, 0.28, 0.28, 5, 1, 0.28, 0)
A(my_logo, L69_20, 15.96, 12.32, 0.28, 0.28, 18, 1, 0.28, 0)
A(my_logo, L69_20, 31.92, 12.32, 0.28, 0.28, 5, 2, 0.28, 0.28)
A(my_logo, L69_20, 16.52, 12.6, 0.28, 0.28, 18, 1, 0.28, 0)
A(my_logo, L69_20, 3.36, 12.88, 0.28, 0.28, 5, 1, 0.28, 0)
A(my_logo, L69_20, 7.56, 12.88, 0.28, 0.28, 6, 2, 0.28, 20.16)
A(my_logo, L69_20, 16.8, 12.88, 0.28, 0.28, 5, 1, 0.28, 0)
A(my_logo, L69_20, 19.88, 12.88, 0.28, 0.28, 6, 1, 0.28, 0)
A(my_logo, L69_20, 25.76, 12.88, 0.28, 0.28, 4, 1, 0.28, 0)
A(my_logo, L69_20, 31.64, 12.88, 0.28, 0.28, 5, 2, 0.28, 0.28)
A(my_logo, L69_20, 3.64, 13.16, 0.28, 0.28, 4, 2, 0.28, 7.28)
A(my_logo, L69_20, 7.56, 13.16, 0.28, 0.28, 8, 1, 0.28, 0)
A(my_logo, L69_20, 17.08, 13.16, 0.28, 0.28, 3, 1, 0.28, 0)
A(my_logo, L69_20, 20.16, 13.16, 0.28, 0.28, 5, 1, 0.28, 0)
A(my_logo, L69_20, 25.76, 13.16, 0.28, 0.28, 5, 2, 0.28, 7.28)
A(my_logo, L69_20, 3.64, 13.44, 0.28, 0.28, 5, 1, 0.28, 0)
A(my_logo, L69_20, 5.6, 13.44, 0.28, 0.28, 4, 1, 0.28, 0)
A(my_logo, L69_20, 7.28, 13.44, 0.28, 0.28, 10, 2, 0.28, 0.28)
A(my_logo, L69_20, 20.72, 13.44, 0.28, 0.28, 3, 1, 0.28, 0)
A(my_logo, L69_20, 24.08, 13.44, 0.28, 0.28, 4, 1, 0.28, 0)
A(my_logo, L69_20, 25.76, 13.44, 0.28, 0.28, 6, 1, 0.28, 0)
A(my_logo, L69_20, 31.36, 13.44, 0.28, 0.28, 5, 2, 0.28, 3.08)
A(my_logo, L69_20, 3.92, 13.72, 0.28, 0.28, 4, 2, 0.28, 6.16)
A(my_logo, L69_20, 5.6, 13.72, 0.28, 0.28, 5, 1, 0.28, 0)
A(my_logo, L69_20, 25.76, 13.72, 0.28, 0.28, 8, 2, 0.28, 19.6)
A(my_logo, L69_20, 31.08, 13.72, 0.28, 0.28, 5, 2, 0.28, 7.28)
A(my_logo, L69_20, 3.92, 14, 0.28, 0.28, 5, 2, 0.28, 0.56)
A(my_logo, L69_20, 5.6, 14, 0.28, 0.28, 10, 1, 0.28, 0)
A(my_logo, L69_20, 8.96, 14, 0.28, 0.28, 4, 1, 0.28, 0)
A(my_logo, L69_20, 24.08, 14, 0.28, 0.28, 15, 1, 0.28, 0)
A(my_logo, L69_20, 30.8, 14, 0.28, 0.28, 6, 2, 0.28, 1.96)
A(my_logo, L69_20, 4.2, 14.28, 0.28, 0.28, 4, 2, 0.28, 5.04)
A(my_logo, L69_20, 5.88, 14.28, 0.28, 0.28, 8, 1, 0.28, 0)
A(my_logo, L69_20, 9.24, 14.28, 0.28, 0.28, 3, 1, 0.28, 0)
A(my_logo, L69_20, 24.36, 14.28, 0.28, 0.28, 15, 1, 0.28, 0)
A(my_logo, L69_20, 30.52, 14.28, 0.28, 0.28, 6, 2, 0.28, 1.4)
A(my_logo, L69_20, 6.44, 14.56, 0.28, 0.28, 6, 1, 0.28, 0)
A(my_logo, L69_20, 24.64, 14.56, 0.28, 0.28, 7, 1, 0.28, 0)
A(my_logo, L69_20, 27.16, 14.56, 0.28, 0.28, 5, 1, 0.28, 0)
A(my_logo, L69_20, 30.24, 14.56, 0.28, 0.28, 6, 2, 0.28, 0.84)
A(my_logo, L69_20, 3.64, 14.84, 0.28, 0.28, 6, 1, 0.28, 0)
A(my_logo, L69_20, 6.72, 14.84, 0.28, 0.28, 4, 1, 0.28, 0)
A(my_logo, L69_20, 15.68, 14.84, 0.28, 0.28, 8, 3, 0.28, 0.28)
A(my_logo, L69_20, 24.92, 14.84, 0.28, 0.28, 6, 1, 0.28, 0)
A(my_logo, L69_20, 27.44, 14.84, 0.28, 0.28, 4, 1, 0.28, 0)
A(my_logo, L69_20, 30.24, 14.84, 0.28, 0.28, 5, 2, 0.28, 0.28)
A(my_logo, L69_20, 8.12, 15.12, 0.28, 0.28, 3, 1, 0.28, 0)
A(my_logo, L69_20, 25.48, 15.12, 0.28, 0.28, 4, 1, 0.28, 0)
A(my_logo, L69_20, 3.08, 15.4, 0.28, 0.28, 6, 1, 0.28, 0)
A(my_logo, L69_20, 7.84, 15.4, 0.28, 0.28, 4, 3, 0.28, 0.28)
A(my_logo, L69_20, 2.8, 15.68, 0.28, 0.28, 6, 1, 0.28, 0)
A(my_logo, L69_20, 12.04, 15.68, 0.28, 0.28, 6, 1, 0.28, 0)
A(my_logo, L69_20, 2.52, 15.96, 0.28, 0.28, 6, 1, 0.28, 0)
A(my_logo, L69_20, 11.76, 15.96, 0.28, 0.28, 8, 1, 0.28, 0)
A(my_logo, L69_20, 21.84, 15.96, 0.28, 0.28, 5, 1, 0.28, 0)
A(my_logo, L69_20, 26.6, 15.96, 0.28, 0.28, 3, 2, 0.28, 0.28)
A(my_logo, L69_20, 2.52, 16.24, 0.28, 0.28, 5, 1, 0.28, 0)
A(my_logo, L69_20, 7.56, 16.24, 0.28, 0.28, 4, 3, 0.28, 0.28)
A(my_logo, L69_20, 11.76, 16.24, 0.28, 0.28, 9, 1, 0.28, 0)
A(my_logo, L69_20, 21.28, 16.24, 0.28, 0.28, 9, 2, 0.28, 13.16)
A(my_logo, L69_20, 31.08, 16.24, 0.28, 0.28, 6, 1, 0.28, 0)
A(my_logo, L69_20, 2.24, 16.52, 0.28, 0.28, 5, 1, 0.28, 0)
A(my_logo, L69_20, 11.48, 16.52, 0.28, 0.28, 11, 2, 0.28, 0.28)
A(my_logo, L69_20, 21, 16.52, 0.28, 0.28, 11, 2, 0.28, 0.28)
A(my_logo, L69_20, 26.6, 16.52, 0.28, 0.28, 4, 3, 0.28, 0.28)
A(my_logo, L69_20, 1.96, 16.8, 0.28, 0.28, 5, 1, 0.28, 0)
A(my_logo, L69_20, 31.64, 16.8, 0.28, 0.28, 5, 2, 0.28, 5.04)
A(my_logo, L69_20, 1.96, 17.08, 0.28, 0.28, 4, 1, 0.28, 0)
A(my_logo, L69_20, 7.56, 17.08, 0.28, 0.28, 3, 3, 0.28, 0.28)
A(my_logo, L69_20, 11.2, 17.08, 0.28, 0.28, 13, 3, 0.28, 0.28)
A(my_logo, L69_20, 20.72, 17.08, 0.28, 0.28, 13, 12, 0.28, 0.28)
A(my_logo, L69_20, 31.92, 17.08, 0.28, 0.28, 5, 1, 0.28, 0)
A(my_logo, L69_20, 1.68, 17.36, 0.28, 0.28, 19, 3, 0.28, 0.28)
A(my_logo, L69_20, 26.88, 17.36, 0.28, 0.28, 3, 3, 0.28, 0.28)
A(my_logo, L69_20, 32.2, 17.36, 0.28, 0.28, 5, 1, 0.28, 0)
A(my_logo, L69_20, 32.48, 17.64, 0.28, 0.28, 5, 1, 0.28, 0)
A(my_logo, L69_20, 7.56, 17.92, 0.28, 0.28, 4, 3, 0.28, 0.28)
A(my_logo, L69_20, 11.2, 17.92, 0.28, 0.28, 14, 9, 0.28, 0.28)
A(my_logo, L69_20, 32.76, 17.92, 0.28, 0.28, 4, 2, 0.28, 7.56)
A(my_logo, L69_20, 1.68, 18.2, 0.28, 0.28, 6, 1, 0.28, 0)
A(my_logo, L69_20, 4.76, 18.2, 0.28, 0.28, 4, 1, 0.28, 0)
A(my_logo, L69_20, 26.6, 18.2, 0.28, 0.28, 4, 3, 0.28, 0.28)
A(my_logo, L69_20, 29.12, 18.2, 0.28, 0.28, 3, 1, 0.28, 0)
A(my_logo, L69_20, 32.76, 18.2, 0.28, 0.28, 5, 1, 0.28, 0)
A(my_logo, L69_20, 1.68, 18.48, 0.28, 0.28, 3, 1, 0.28, 0)
A(my_logo, L69_20, 4.48, 18.48, 0.28, 0.28, 5, 1, 0.28, 0)
A(my_logo, L69_20, 29.12, 18.48, 0.28, 0.28, 10, 1, 0.28, 0)
A(my_logo, L69_20, 33.04, 18.48, 0.28, 0.28, 5, 1, 0.28, 0)
A(my_logo, L69_20, 4.48, 18.76, 0.28, 0.28, 4, 1, 0.28, 0)
A(my_logo, L69_20, 7.84, 18.76, 0.28, 0.28, 4, 2, 0.28, 0.28)
A(my_logo, L69_20, 29.12, 18.76, 0.28, 0.28, 19, 2, 0.28, 0.28)
A(my_logo, L69_20, 4.2, 19.04, 0.28, 0.28, 5, 2, 0.28, 15.96)
A(my_logo, L69_20, 26.6, 19.04, 0.28, 0.28, 3, 2, 0.28, 0.28)
A(my_logo, L69_20, 7.84, 19.32, 0.28, 0.28, 5, 1, 0.28, 0)
A(my_logo, L69_20, 29.4, 19.32, 0.28, 0.28, 18, 1, 0.28, 0)
A(my_logo, L69_20, 4.2, 19.6, 0.28, 0.28, 4, 1, 0.28, 0)
A(my_logo, L69_20, 8.12, 19.6, 0.28, 0.28, 5, 1, 0.28, 0)
A(my_logo, L69_20, 26.32, 19.6, 0.28, 0.28, 4, 2, 0.28, 0.28)
A(my_logo, L69_20, 29.68, 19.6, 0.28, 0.28, 6, 1, 0.28, 0)
A(my_logo, L69_20, 8.12, 19.88, 0.28, 0.28, 6, 1, 0.28, 0)
A(my_logo, L69_20, 30.24, 19.88, 0.28, 0.28, 5, 1, 0.28, 0)
A(my_logo, L69_20, 3.92, 20.16, 0.28, 0.28, 4, 2, 0.28, 13.16)
A(my_logo, L69_20, 8.4, 20.16, 0.28, 0.28, 5, 1, 0.28, 0)
A(my_logo, L69_20, 26.04, 20.16, 0.28, 0.28, 4, 1, 0.28, 0)
A(my_logo, L69_20, 30.24, 20.16, 0.28, 0.28, 6, 1, 0.28, 0)
A(my_logo, L69_20, 7.56, 20.44, 0.28, 0.28, 26, 2, 0.28, 0.28)
A(my_logo, L69_20, 21, 20.44, 0.28, 0.28, 12, 2, 0.28, 0.28)
A(my_logo, L69_20, 30.52, 20.44, 0.28, 0.28, 6, 1, 0.28, 0)
A(my_logo, L69_20, 3.64, 20.72, 0.28, 0.28, 4, 2, 0.28, 0.28)
A(my_logo, L69_20, 25.76, 20.72, 0.28, 0.28, 5, 1, 0.28, 0)
A(my_logo, L69_20, 30.8, 20.72, 0.28, 0.28, 6, 1, 0.28, 0)
A(my_logo, L69_20, 7.56, 21, 0.28, 0.28, 24, 1, 0.28, 0)
A(my_logo, L69_20, 21, 21, 0.28, 0.28, 25, 1, 0.28, 0)
A(my_logo, L69_20, 3.36, 21.28, 0.28, 0.28, 4, 2, 0.28, 0.28)
A(my_logo, L69_20, 21.56, 21.28, 0.28, 0.28, 23, 1, 0.28, 0)
A(my_logo, L69_20, 31.36, 21.28, 0.28, 0.28, 5, 1, 0.28, 0)
A(my_logo, L69_20, 22.12, 21.56, 0.28, 0.28, 21, 1, 0.28, 0)
A(my_logo, L69_20, 31.64, 21.56, 0.28, 0.28, 4, 2, 0.28, 8.96)
A(my_logo, L69_20, 3.08, 21.84, 0.28, 0.28, 5, 1, 0.28, 0)
A(my_logo, L69_20, 3.08, 22.12, 0.28, 0.28, 4, 2, 0.28, 0.28)
A(my_logo, L69_20, 31.92, 22.12, 0.28, 0.28, 4, 2, 0.28, 7.28)
A(my_logo, L69_20, 32.2, 22.4, 0.28, 0.28, 4, 2, 0.28, 0.28)
A(my_logo, L69_20, 2.8, 22.68, 0.28, 0.28, 4, 3, 0.28, 0.28)
A(my_logo, L69_20, 32.48, 22.96, 0.28, 0.28, 3, 2, 0.28, 0.28)
A(my_logo, L69_20, 2.8, 23.52, 0.28, 0.28, 3, 2, 0.28, 2.8)
A(my_logo, L69_20, 32.48, 23.52, 0.28, 0.28, 4, 3, 0.28, 0.28)
A(my_logo, L69_20, 2.52, 23.8, 0.28, 0.28, 4, 3, 0.28, 0.28)
A(my_logo, L69_20, 32.76, 24.36, 0.28, 0.28, 3, 4, 0.28, 0.28)
A(my_logo, L69_20, 2.52, 24.64, 0.28, 0.28, 3, 3, 0.28, 0.28)
A(my_logo, L69_20, 2.52, 25.48, 0.28, 0.28, 4, 3, 0.28, 0.28)
A(my_logo, L69_20, 16.52, 25.76, 0.28, 0.28, 6, 1, 0.28, 0)
A(my_logo, L69_20, 32.76, 25.76, 0.28, 0.28, 4, 2, 0.28, 0.28)
A(my_logo, L69_20, 12.6, 26.04, 0.28, 0.28, 20, 2, 0.28, 0.28)
A(my_logo, L69_20, 32.76, 26.32, 0.28, 0.28, 3, 1, 0.28, 0)
A(my_logo, L69_20, 2.8, 26.6, 0.28, 0.28, 3, 3, 0.28, 0.28)
A(my_logo, L69_20, 12.6, 26.6, 0.28, 0.28, 17, 1, 0.28, 0)
A(my_logo, L69_20, 32.48, 26.6, 0.28, 0.28, 4, 2, 0.28, 0.28)
A(my_logo, L69_20, 12.6, 26.88, 0.28, 0.28, 6, 1, 0.28, 0)
A(my_logo, L69_20, 12.88, 27.16, 0.28, 0.28, 6, 1, 0.28, 0)
A(my_logo, L69_20, 32.48, 27.16, 0.28, 0.28, 3, 3, 0.28, 0.28)
A(my_logo, L69_20, 2.8, 27.44, 0.28, 0.28, 4, 2, 0.28, 0.28)
A(my_logo, L69_20, 13.16, 27.44, 0.28, 0.28, 6, 1, 0.28, 0)
A(my_logo, L69_20, 13.44, 27.72, 0.28, 0.28, 6, 1, 0.28, 0)
A(my_logo, L69_20, 3.08, 28, 0.28, 0.28, 3, 6, 0.28, 0.28)
A(my_logo, L69_20, 12.88, 28, 0.28, 0.28, 12, 1, 0.28, 0)
A(my_logo, L69_20, 22.4, 28, 0.28, 0.28, 3, 2, 0.28, 0.28)
A(my_logo, L69_20, 32.2, 28, 0.28, 0.28, 4, 3, 0.28, 0.28)
A(my_logo, L69_20, 12.6, 28.28, 0.28, 0.28, 15, 1, 0.28, 0)
A(my_logo, L69_20, 12.32, 28.56, 0.28, 0.28, 6, 1, 0.28, 0)
A(my_logo, L69_20, 22.12, 28.56, 0.28, 0.28, 4, 1, 0.28, 0)
A(my_logo, L69_20, 12.32, 28.84, 0.28, 0.28, 5, 1, 0.28, 0)
A(my_logo, L69_20, 15.4, 28.84, 0.28, 0.28, 5, 1, 0.28, 0)
A(my_logo, L69_20, 21.84, 28.84, 0.28, 0.28, 6, 1, 0.28, 0)
A(my_logo, L69_20, 32.2, 28.84, 0.28, 0.28, 3, 2, 0.28, 0.28)
A(my_logo, L69_20, 12.04, 29.12, 0.28, 0.28, 5, 1, 0.28, 0)
A(my_logo, L69_20, 15.12, 29.12, 0.28, 0.28, 5, 1, 0.28, 0)
A(my_logo, L69_20, 21.56, 29.12, 0.28, 0.28, 7, 1, 0.28, 0)
A(my_logo, L69_20, 14.84, 29.4, 0.28, 0.28, 6, 1, 0.28, 0)
A(my_logo, L69_20, 3.08, 29.68, 0.28, 0.28, 4, 2, 0.28, 0.28)
A(my_logo, L69_20, 14.56, 29.68, 0.28, 0.28, 6, 1, 0.28, 0)
A(my_logo, L69_20, 21, 29.68, 0.28, 0.28, 10, 1, 0.28, 0)
A(my_logo, L69_20, 31.92, 29.68, 0.28, 0.28, 4, 1, 0.28, 0)
A(my_logo, L69_20, 14.56, 29.96, 0.28, 0.28, 5, 1, 0.28, 0)
A(my_logo, L69_20, 20.44, 29.96, 0.28, 0.28, 7, 1, 0.28, 0)
A(my_logo, L69_20, 22.68, 29.96, 0.28, 0.28, 5, 1, 0.28, 0)
A(my_logo, L69_20, 31.92, 29.96, 0.28, 0.28, 3, 2, 0.28, 0.28)
A(my_logo, L69_20, 3.36, 30.24, 0.28, 0.28, 3, 3, 0.28, 0.28)
A(my_logo, L69_20, 10.92, 30.24, 0.28, 0.28, 5, 1, 0.28, 0)
A(my_logo, L69_20, 14.28, 30.24, 0.28, 0.28, 5, 1, 0.28, 0)
A(my_logo, L69_20, 20.16, 30.24, 0.28, 0.28, 6, 1, 0.28, 0)
A(my_logo, L69_20, 22.96, 30.24, 0.28, 0.28, 4, 1, 0.28, 0)
A(my_logo, L69_20, 14.28, 30.52, 0.28, 0.28, 4, 2, 0.28, 0.28)
A(my_logo, L69_20, 19.6, 30.52, 0.28, 0.28, 7, 1, 0.28, 0)
A(my_logo, L69_20, 10.36, 30.8, 0.28, 0.28, 6, 1, 0.28, 0)
A(my_logo, L69_20, 19.04, 30.8, 0.28, 0.28, 8, 1, 0.28, 0)
A(my_logo, L69_20, 23.24, 30.8, 0.28, 0.28, 4, 1, 0.28, 0)
A(my_logo, L69_20, 31.64, 30.8, 0.28, 0.28, 4, 2, 0.28, 0.28)
A(my_logo, L69_20, 3.36, 31.08, 0.28, 0.28, 4, 2, 0.28, 0.28)
A(my_logo, L69_20, 10.08, 31.08, 0.28, 0.28, 6, 1, 0.28, 0)
A(my_logo, L69_20, 14, 31.08, 0.28, 0.28, 4, 2, 0.28, 0.28)
A(my_logo, L69_20, 18.48, 31.08, 0.28, 0.28, 9, 1, 0.28, 0)
A(my_logo, L69_20, 23.52, 31.08, 0.28, 0.28, 5, 1, 0.28, 0)
A(my_logo, L69_20, 9.8, 31.36, 0.28, 0.28, 6, 1, 0.28, 0)
A(my_logo, L69_20, 17.92, 31.36, 0.28, 0.28, 9, 1, 0.28, 0)
A(my_logo, L69_20, 23.52, 31.36, 0.28, 0.28, 6, 1, 0.28, 0)
A(my_logo, L69_20, 31.64, 31.36, 0.28, 0.28, 3, 1, 0.28, 0)
A(my_logo, L69_20, 3.64, 31.64, 0.28, 0.28, 3, 3, 0.28, 0.28)
A(my_logo, L69_20, 9.52, 31.64, 0.28, 0.28, 6, 1, 0.28, 0)
A(my_logo, L69_20, 14, 31.64, 0.28, 0.28, 3, 1, 0.28, 0)
A(my_logo, L69_20, 17.08, 31.64, 0.28, 0.28, 10, 1, 0.28, 0)
A(my_logo, L69_20, 23.8, 31.64, 0.28, 0.28, 6, 1, 0.28, 0)
A(my_logo, L69_20, 31.36, 31.64, 0.28, 0.28, 4, 3, 0.28, 0.28)
A(my_logo, L69_20, 8.96, 31.92, 0.28, 0.28, 7, 1, 0.28, 0)
A(my_logo, L69_20, 13.72, 31.92, 0.28, 0.28, 4, 1, 0.28, 0)
A(my_logo, L69_20, 15.96, 31.92, 0.28, 0.28, 12, 1, 0.28, 0)
A(my_logo, L69_20, 23.8, 31.92, 0.28, 0.28, 7, 1, 0.28, 0)
A(my_logo, L69_20, 8.68, 32.2, 0.28, 0.28, 7, 1, 0.28, 0)
A(my_logo, L69_20, 13.72, 32.2, 0.28, 0.28, 17, 1, 0.28, 0)
A(my_logo, L69_20, 24.08, 32.2, 0.28, 0.28, 7, 1, 0.28, 0)
A(my_logo, L69_20, 3.64, 32.48, 0.28, 0.28, 4, 2, 0.28, 0.28)
A(my_logo, L69_20, 8.4, 32.48, 0.28, 0.28, 6, 1, 0.28, 0)
A(my_logo, L69_20, 13.72, 32.48, 0.28, 0.28, 14, 1, 0.28, 0)
A(my_logo, L69_20, 24.64, 32.48, 0.28, 0.28, 6, 1, 0.28, 0)
A(my_logo, L69_20, 31.36, 32.48, 0.28, 0.28, 3, 1, 0.28, 0)
A(my_logo, L69_20, 7.84, 32.76, 0.28, 0.28, 7, 1, 0.28, 0)
A(my_logo, L69_20, 13.72, 32.76, 0.28, 0.28, 11, 1, 0.28, 0)
A(my_logo, L69_20, 24.92, 32.76, 0.28, 0.28, 7, 1, 0.28, 0)
A(my_logo, L69_20, 31.08, 32.76, 0.28, 0.28, 4, 2, 0.28, 0.28)
A(my_logo, L69_20, 3.92, 33.04, 0.28, 0.28, 3, 1, 0.28, 0)
A(my_logo, L69_20, 13.72, 33.04, 0.28, 0.28, 3, 1, 0.28, 0)
A(my_logo, L69_20, 7.28, 33.32, 0.28, 0.28, 6, 1, 0.28, 0)
A(my_logo, L69_20, 31.08, 33.32, 0.28, 0.28, 3, 1, 0.28, 0)
A(my_logo, L69_20, 3.92, 33.6, 0.28, 0.28, 4, 2, 0.28, 0.28)
A(my_logo, L69_20, 6.72, 33.6, 0.28, 0.28, 7, 1, 0.28, 0)
A(my_logo, L69_20, 26.04, 33.6, 0.28, 0.28, 9, 1, 0.28, 0)
A(my_logo, L69_20, 30.8, 33.6, 0.28, 0.28, 4, 2, 0.28, 0.28)
A(my_logo, L69_20, 6.16, 33.88, 0.28, 0.28, 8, 1, 0.28, 0)
A(my_logo, L69_20, 26.6, 33.88, 0.28, 0.28, 9, 1, 0.28, 0)
A(my_logo, L69_20, 4.2, 34.16, 0.28, 0.28, 14, 1, 0.28, 0)
A(my_logo, L69_20, 27.16, 34.16, 0.28, 0.28, 10, 1, 0.28, 0)
A(my_logo, L69_20, 30.8, 34.16, 0.28, 0.28, 3, 1, 0.28, 0)
A(my_logo, L69_20, 4.2, 34.44, 0.28, 0.28, 12, 1, 0.28, 0)
A(my_logo, L69_20, 27.72, 34.44, 0.28, 0.28, 14, 1, 0.28, 0)
A(my_logo, L69_20, 4.2, 34.72, 0.28, 0.28, 9, 1, 0.28, 0)
A(my_logo, L69_20, 28.56, 34.72, 0.28, 0.28, 11, 1, 0.28, 0)
A(my_logo, L69_20, 29.12, 35, 0.28, 0.28, 8, 1, 0.28, 0)
A(my_logo, L69_20, 29.96, 35.28, 0.28, 0.28, 5, 1, 0.28, 0)
R(my_logo, L105_52, [(0,0,35.84,35.84)])
R(my_logo, L107_24, [(0,0,35.84,35.84)])
R(my_logo, L112_4, [(0,0,35.84,35.84)])
R(my_logo, L117_4, [(0,0,35.84,35.84)])
R(my_logo, L235_4, [(0,0,35.84,35.84)])

lib.write_gds('my_logo.gds')
